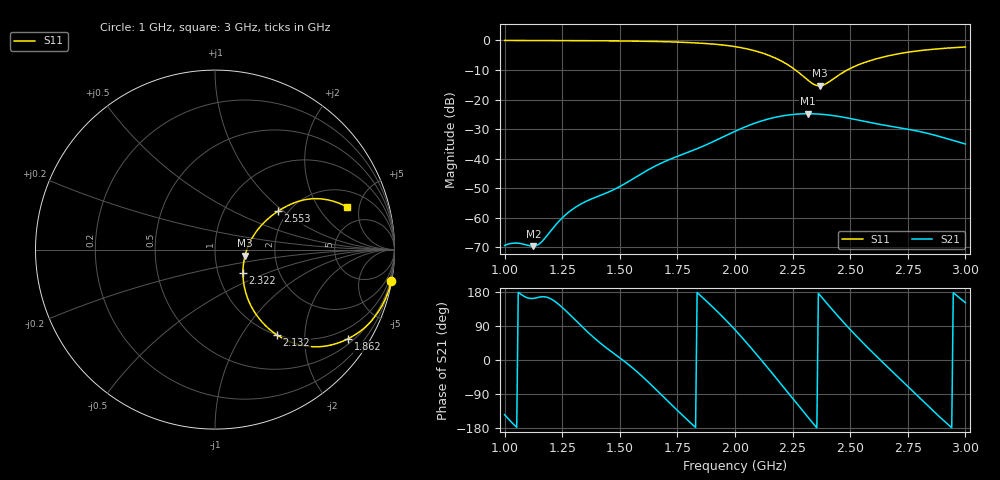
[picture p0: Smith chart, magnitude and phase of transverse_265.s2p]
! TOUCHSTONE file generated by CST MICROWAVE STUDIO
! Date and time: Tue Mar 11 13:58:11 2025
! Project name: transverse.cst
! Parameters = {Fracture=1; B=12.5; D=160; F=15; Feed=2.85625; L=100; M=10; R=0.384908; S=1; Theta=270; length=57.125; wave=114.25}
! Header version: 2024
! Port assignment regex: !\s*Touchstone port\s*([0-9]+)\s*=\s*(CST MWS port|CST DES external port|CST DES block port)\s*(.+)\s* \(\"(.*)\"\)(\s*mode\s*([0-9]+))?.*
! Touchstone port assignment:
! Touchstone port 1 = CST MWS port 1 ("")
! Touchstone port 2 = CST MWS port 2 ("")
# GHz S MA R 50
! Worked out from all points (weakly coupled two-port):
!   305 points, 1 GHz to 3 GHz, reference 50 ohm
!   highest |S21| = -24.81 dB at 2.316 GHz (marker M1); lowest = -69.6 dB at 1.125 GHz (marker M2)
!   lowest |S11| = -15.4 dB at 2.368 GHz (marker M3), VSWR 1.41, Z = 69.9 - j4.88 ohm
!   |S11| at or under -10 dB: 2.262 GHz to 2.488 GHz (225.3 MHz wide, 9.49 % of centre)
!   S12 and S22 are empty: the file has one direction only
!   S11 on the Smith chart (normalised r, x): 1 GHz: 0, -11; 1.862 GHz: 0.65, -3.16; 2.132 GHz: 1.00, -1.45; 2.322 GHz: 1.31, -0.36; 2.553 GHz: 1.78, +0.91; 3 GHz: 3.21, +3.78
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1  0.9978 -10.0  0.0003407 -144.3  0 0.0  0 0.0
1.05263  0.997 -10.8  0.0003734 -177.6  0 0.0  0 0.0
1.125  0.9959 -11.8  0.0003311 162.6  0 0.0  0 0.0
1.15789  0.9954 -12.3  0.0003827 166.6  0 0.0  0 0.0
1.26316  0.9926 -14.2  0.001111 131.4  0 0.0  0 0.0
1.33553  0.9894 -15.6  0.001747 88.3  0 0.0  0 0.0
1.48684  0.9801 -19.0  0.003171 11.6  0 0.0  0 0.0
1.67105  0.9563 -24.8  0.00809 -86.2  0 0.0  0 0.0
1.86184  0.8919 -33.9  0.01628 163.4  0 0.0  0 0.0
2  0.785 -43.6  0.029 79.7  0 0.0  0 0.0
2.13158  0.5876 -54.0  0.0454 -12.8  0 0.0  0 0.0
2.22368  0.3996 -57.7  0.05423 -81.4  0 0.0  0 0.0
2.31579  0.2134 -43.1  0.05751 -150.2  0 0.0  0 0.0
2.32237  0.2035 -40.2  0.0575 -155.1  0 0.0  0 0.0
2.33553  0.1871 -33.3  0.05738 -164.8  0 0.0  0 0.0
2.36842  0.1707 -11.5  0.05655 171.2  0 0.0  0 0.0
2.39474  0.1846 5.3  0.05539 152.3  0 0.0  0 0.0
2.45395  0.2642 25.2  0.05152 111.1  0 0.0  0 0.0
2.55263  0.4102 31.3  0.04344 47.0  0 0.0  0 0.0
2.67105  0.5541 29.6  0.03553 -23.6  0 0.0  0 0.0
2.82895  0.6897 23.6  0.02719 -116.3  0 0.0  0 0.0
3  0.7739 17.8  0.0177 151.3  0 0.0  0 0.0
